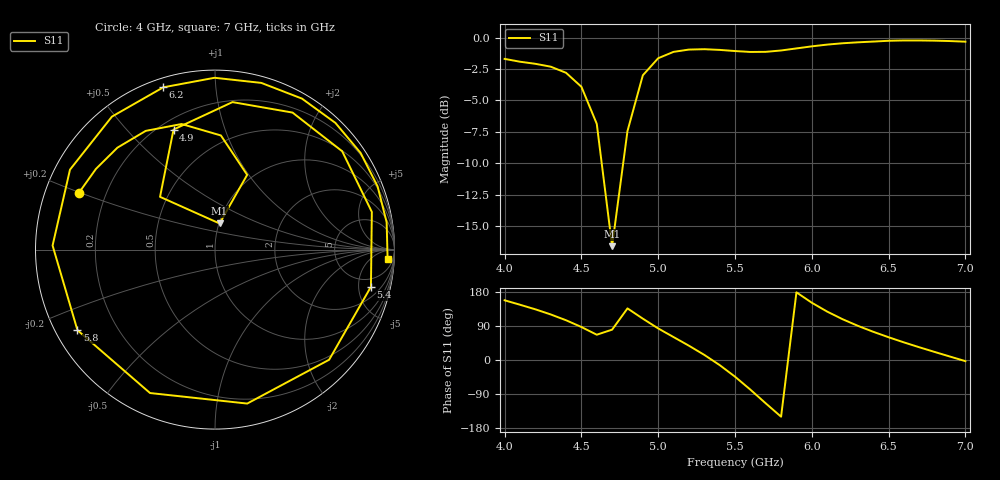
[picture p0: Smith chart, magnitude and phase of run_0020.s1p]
! Touchstone file exported from HFSS 2024.2.0
!  File:  C:/Users/wsak9/Desktop/Sim Fast/Widenad Patch/WP_AI_V1_sweep.aedt
!  Generated:  03:34:40 PM Oct 13, 2026
!  Design:  A1_model
!  Project:  WP_AI_V1_sweep
!  Setup:  Setup1
!  Solution:  Sweep
! Variables:
!  Air_gap = 4.33mm
!  Curve_Amp1 = 2.35
!  Curve_len1 = 1
!  Curve_pos = 12.68mm
!  Extra = 7.27mm
!  H_sub = 0.79mm
!  L_Patch = 21.36mm
!  L_Patch1 = 22.08mm
!  Sx = 1.56mm
!  Sy = 2.83mm
!  WS = 0.73mm
!  W_Patch = 14.89mm
!  W_Patch1 = 14.81mm
!Data is not renormalized
# GHz S MA
! Terminal data exported
! Port[1] = 1
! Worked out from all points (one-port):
!   31 points, 4 GHz to 7 GHz, reference per port
!   lowest |S11| = -16.6 dB at 4.7 GHz (marker M1), VSWR 1.35
!   |S11| at or under -10 dB: 4.632 GHz to 4.772 GHz (140 MHz wide, 2.98 % of centre)
!   S11 on the Smith chart (normalised r, x): 4 GHz: 0.10, +0.20; 4.9 GHz: 0.25, +0.68; 5.4 GHz: 3.37, -6.89; 5.8 GHz: 0.06, -0.27; 6.2 GHz: 0.04, +0.73; 7 GHz: 18, -25
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4  0.8224 157.6
4.2  0.7862 133.8
4.3  0.7658 120.2
4.4  0.7239 104.9
4.5  0.6367 87.0
4.6  0.4534 66.7
4.7  0.1477 80.1
4.8  0.4245 136.2
4.9  0.7077 109.1
5  0.8275 83.2
5.1  0.8771 60.5
5.2  0.8957 37.7
5.3  0.8987 13.5
5.4  0.8931 -13.4
5.5  0.8837 -44.0
5.6  0.8764 -78.2
5.7  0.8773 -114.4
5.8  0.8883 -149.6
5.9  0.9052 178.6
6  0.9226 151.1
6.1  0.9375 127.8
6.2  0.9489 107.7
6.3  0.9573 90.1
6.4  0.9639 74.5
6.5  0.9708 60.1
6.7  0.9737 33.6
6.8  0.9719 21.2
7  0.963 -3.0
